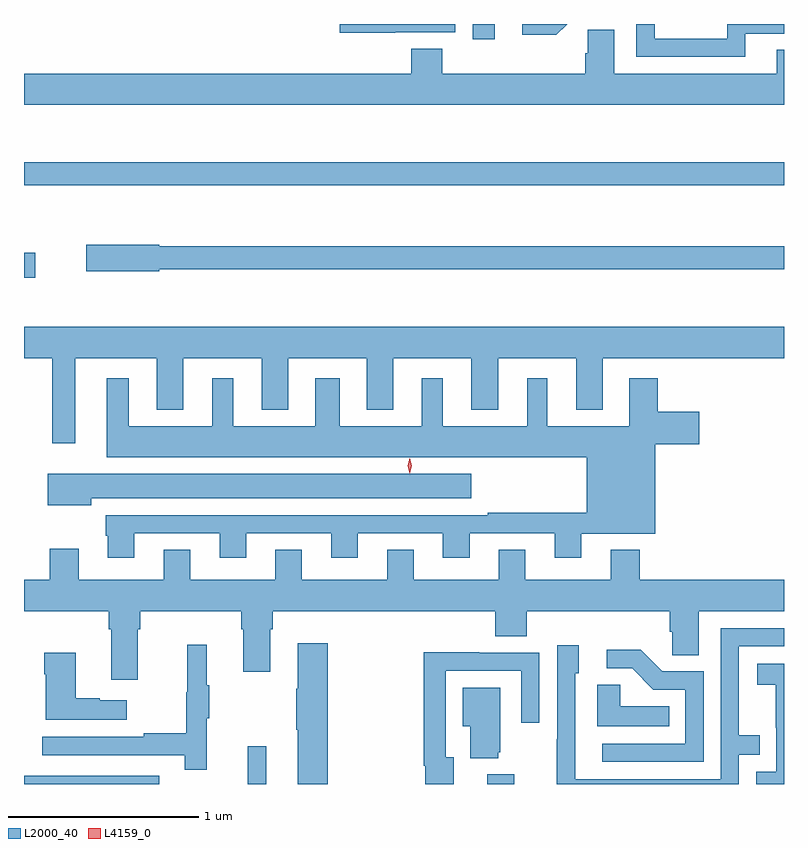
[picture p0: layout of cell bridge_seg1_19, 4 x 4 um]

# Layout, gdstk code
import gdstk
lib = gdstk.Library(unit=1e-6, precision=1e-09)
def R(c, l, rs):  # rectangles x0, y0, x1, y1
    for r in rs: c.add(gdstk.rectangle(r[:2], r[2:], *l))
def P(c, l, *ps):  # polygons
    for p in ps: c.add(gdstk.Polygon(p, *l))
L2000_40 = (2000, 40)
L4159_0 = (4159, 0)

bridge_seg1_19 = lib.new_cell('bridge_seg1_19')
R(bridge_seg1_19, L2000_40, [(828.788,544.162,829.5,544.206), (829.965,544.162,830.062,544.36), (831.227,544.162,831.367,544.213), (828.788,546.827,828.847,546.957), (828.788,547.314,832.788,547.435), (831.15,548.082,831.265,548.162)])
P(bridge_seg1_19, L2000_40, [(831.647,548.162),(831.411,548.162),(831.411,548.105),(831.589,548.105)],
  [(830.741,548.118),(831.057,548.118),(831.057,548.162),(830.449,548.162),(830.449,548.117),(830.741,548.117)],
  [(832.585,548.112),(832.788,548.112),(832.788,548.162),(832.488,548.162),(832.488,548.085),(832.107,548.085),(832.107,548.162),(832.011,548.162),(832.011,547.989),(832.585,547.989)],
  [(832.788,548.027),(832.751,548.027),(832.751,547.9),(831.895,547.9),(831.895,548.132),(831.756,548.132),(831.756,548.009),(831.743,548.009),(831.743,547.9),(830.99,547.9),(830.99,548.033),(830.825,548.033),(830.825,547.9),(828.788,547.9),(828.788,547.736),(832.788,547.736)],
  [(829.5,546.87),(832.788,546.87),(832.788,546.991),(829.5,546.991),(829.5,546.999),(829.116,546.999),(829.116,546.862),(829.5,546.862)],
  [(829.057,546.404),(829.487,546.404),(829.487,546.131),(829.627,546.131),(829.627,546.404),(830.039,546.404),(830.039,546.131),(830.179,546.131),(830.179,546.404),(830.591,546.404),(830.591,546.131),(830.731,546.131),(830.731,546.404),(831.143,546.404),(831.143,546.131),(831.283,546.131),(831.283,546.404),(831.695,546.404),(831.695,546.131),(831.835,546.131),(831.835,546.404),(832.788,546.404),(832.788,546.568),(828.788,546.568),(828.788,546.404),(828.936,546.404),(828.936,545.955),(829.057,545.955)],
  [(829.369,545.481),(829.817,545.481),(829.817,545.352),(829.957,545.352),(829.957,545.481),(830.405,545.481),(830.405,545.352),(830.545,545.352),(830.545,545.481),(830.993,545.481),(830.993,545.352),(831.133,545.352),(831.133,545.481),(831.581,545.481),(831.581,545.352),(831.721,545.352),(831.721,545.48),(832.111,545.48),(832.111,545.951),(832.342,545.951),(832.342,546.121),(832.124,546.121),(832.124,546.298),(831.974,546.298),(831.974,546.046),(831.541,546.046),(831.541,546.298),(831.437,546.298),(831.437,546.046),(830.992,546.046),(830.992,546.298),(830.882,546.298),(830.882,546.046),(830.449,546.046),(830.449,546.298),(830.321,546.298),(830.321,546.046),(829.888,546.046),(829.888,546.298),(829.778,546.298),(829.778,546.046),(829.339,546.046),(829.339,546.298),(829.223,546.298),(829.223,545.882),(831.749,545.882),(831.749,545.59),(831.229,545.59),(831.229,545.577),(829.217,545.577),(829.217,545.469),(829.229,545.469),(829.229,545.352),(829.369,545.352)],
  [(829.141,545.666),(831.142,545.666),(831.142,545.794),(828.912,545.794),(828.912,545.63),(829.141,545.63)],
  [(829.075,545.401),(828.923,545.401),(828.923,545.236),(828.788,545.236),(828.788,545.072),(829.235,545.072),(829.235,544.976),(829.247,544.976),(829.247,544.71),(829.387,544.71),(829.387,544.976),(829.4,544.976),(829.4,545.072),(829.931,545.072),(829.931,544.976),(829.943,544.976),(829.943,544.752),(830.083,544.752),(830.083,544.976),(830.096,544.976),(830.096,545.072),(831.269,545.072),(831.269,544.939),(831.434,544.939),(831.434,545.072),(832.187,545.072),(832.187,544.963),(832.2,544.963),(832.2,544.84),(832.339,544.84),(832.339,545.072),(832.788,545.072),(832.788,545.236),(832.028,545.236),(832.028,545.395),(831.875,545.395),(831.875,545.236),(831.427,545.236),(831.427,545.396),(831.287,545.396),(831.287,545.236),(830.839,545.236),(830.839,545.396),(830.699,545.396),(830.699,545.236),(830.251,545.236),(830.251,545.396),(830.111,545.396),(830.111,545.236),(829.663,545.236),(829.663,545.396),(829.523,545.396),(829.523,545.236),(829.075,545.236)],
  [(832.551,544.317),(832.661,544.317),(832.661,544.418),(832.551,544.418),(832.551,544.887),(832.788,544.887),(832.788,544.983),(832.455,544.983),(832.455,544.188),(831.69,544.188),(831.69,544.746),(831.709,544.746),(831.709,544.891),(831.594,544.891),(831.594,544.397),(831.592,544.397),(831.592,544.162),(832.551,544.162)],
  [(830.387,544.903),(830.228,544.903),(830.228,544.664),(830.221,544.664),(830.221,544.447),(830.228,544.447),(830.228,544.162),(830.387,544.162)],
  [(829.751,544.507),(829.762,544.507),(829.762,544.681),(829.751,544.681),(829.751,544.894),(829.648,544.894),(829.648,544.644),(829.641,544.644),(829.641,544.43),(829.417,544.43),(829.417,544.41),(828.885,544.41),(828.885,544.314),(829.633,544.314),(829.633,544.236),(829.751,544.236)],
  [(832.365,544.755),(832.146,544.755),(832.033,544.868),(831.855,544.868),(831.855,544.77),(831.989,544.77),(832.1,544.659),(832.269,544.659),(832.269,544.374),(831.831,544.374),(831.831,544.278),(832.365,544.278)],
  [(831.049,544.302),(831.009,544.302),(831.009,544.758),(831.405,544.758),(831.405,544.485),(831.501,544.485),(831.501,544.854),(831.185,544.854),(831.185,544.856),(830.893,544.856),(830.893,544.258),(830.901,544.258),(830.901,544.162),(831.049,544.162)],
  [(829.33,544.603),(829.187,544.603),(829.187,544.613),(829.06,544.613),(829.06,544.852),(828.895,544.852),(828.895,544.739),(828.902,544.739),(828.902,544.499),(829.33,544.499)],
  [(832.788,544.795),(832.647,544.795),(832.647,544.685),(832.745,544.685),(832.745,544.457),(832.746,544.457),(832.746,544.227),(832.641,544.227),(832.641,544.162),(832.788,544.162)],
  [(832.184,544.57),(831.927,544.57),(831.927,544.685),(831.806,544.685),(831.806,544.466),(832.184,544.466)],
  [(831.284,544.329),(831.295,544.329),(831.295,544.669),(831.098,544.669),(831.098,544.466),(831.137,544.466),(831.137,544.298),(831.284,544.298)])
P(bridge_seg1_19, L4159_0, [(830.818,545.795),(830.818,545.796),(830.809,545.836),(830.819,545.877),(830.819,545.877),(830.819,545.877),(830.829,545.836),(830.818,545.796)])

lib.write_gds('bridge_seg1_19.gds')
